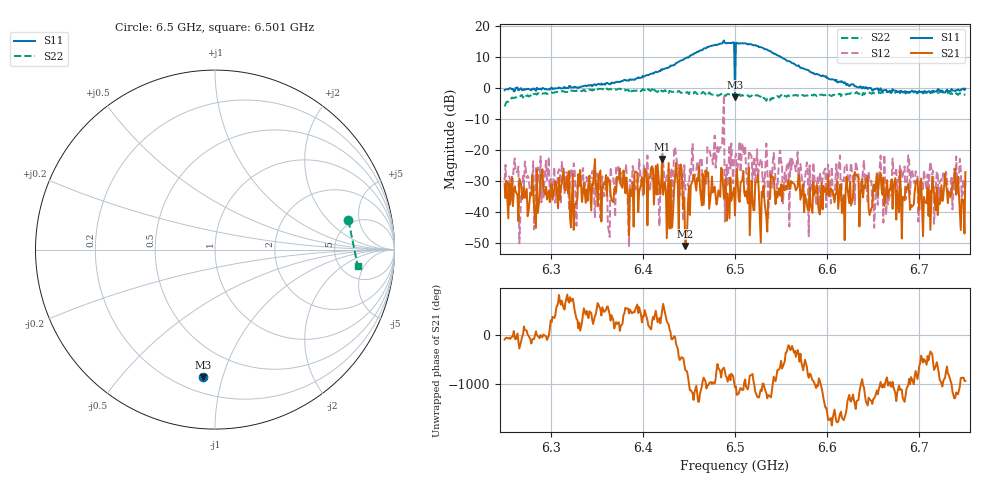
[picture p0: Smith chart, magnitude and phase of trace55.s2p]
# Hz S RI R 50
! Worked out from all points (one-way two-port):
!   401 points, 6.25 GHz to 6.75 GHz, reference 50 ohm
!   highest |S21| = -22.94 dB at 6.421 GHz (marker M1); lowest = -51.1 dB at 6.446 GHz (marker M2)
!   lowest |S11| = -2.9 dB at 6.5 GHz (marker M3), VSWR 6.00, Z = 14.9 - j43.3 ohm
!   |S11| at or under -10 dB: nowhere
!   |S22| runs from -5.9 to -0.1 dB; largest |S21 - S12| = 0.78
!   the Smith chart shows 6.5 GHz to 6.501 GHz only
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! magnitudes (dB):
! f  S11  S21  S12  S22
! 6.25 GHz  -0.7  -31.0  -29.8  -5.9
! 6.315 GHz  0.4  -31.7  -34.0  -1.2
! 6.324 GHz  0.2  -27.8  -29.2  -0.9
! 6.334 GHz  0.5  -36.9  -29.5  -1.0
! 6.361 GHz  1.7  -34.9  -28.9  -0.1
! 6.374 GHz  2.0  -29.6  -25.0  -0.2
! 6.418 GHz  5.5  -32.5  -44.7  -0.6
! 6.421 GHz  5.9  -22.9  -20.3  -1.0
! 6.431 GHz  7.2  -45.2  -25.9  -1.2
! 6.436 GHz  8.1  -24.2  -21.8  -1.1
! 6.442 GHz  9.0  -26.0  -26.7  -1.5
! 6.446 GHz  9.7  -51.1  -32.9  -1.5
! 6.456 GHz  11.2  -29.0  -28.8  -1.2
! 6.466 GHz  12.8  -37.8  -27.9  -1.4
! 6.485 GHz  14.3  -25.8  -19.2  -1.8
! 6.491 GHz  14.5  -42.9  -24.8  -2.1
! 6.5 GHz  -2.9  -41.2  -22.9  -2.4
! 6.584 GHz  4.9  -40.4  -30.7  -2.3
! 6.668 GHz  -0.9  -32.7  -34.6  -1.3
! 6.74 GHz  -0.7  -34.5  -22.1  -1.6
! 6.746 GHz  -0.3  -35.9  -35.2  -2.0
! 6.75 GHz  -0.2  -27.2  -30.7  -2.0
